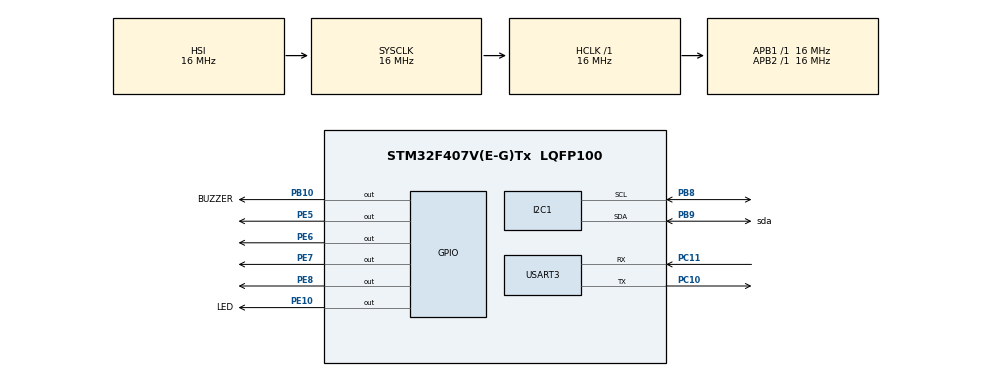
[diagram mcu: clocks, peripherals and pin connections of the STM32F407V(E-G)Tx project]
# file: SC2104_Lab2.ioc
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Mcu.Family=STM32F4
Mcu.Name=STM32F407V(E-G)Tx
Mcu.Package=LQFP100
NVIC.PriorityGroup=NVIC_PRIORITYGROUP_4
PB10.GPIO_Label=BUZZER
PB10.Signal=GPIO_Output
PB8.Mode=I2C
PB8.Signal=I2C1_SCL
PB9.GPIO_Label=sda
PB9.Mode=I2C
PB9.Signal=I2C1_SDA
PC10.Mode=Asynchronous
PC10.Signal=USART3_TX
PC11.Mode=Asynchronous
PC11.Signal=USART3_RX
PE10.GPIO_Label=LED
PE10.Signal=GPIO_Output
PE5.Signal=GPIO_Output
PE6.Signal=GPIO_Output
PE7.Signal=GPIO_Output
PE8.Signal=GPIO_Output
ProjectManager.HeapSize=0x200
ProjectManager.StackSize=0x400
ProjectManager.TargetToolchain=STM32CubeIDE
RCC.AHBFreq_Value=16000000
RCC.APB1Freq_Value=16000000
RCC.APB2Freq_Value=16000000
RCC.CortexFreq_Value=16000000
RCC.HSE_VALUE=25000000
RCC.HSI_VALUE=16000000
RCC.LSE_VALUE=32768
RCC.SYSCLKFreq_VALUE=16000000
RCC.VCOOutputFreq_Value=192000000
USART3.VirtualMode=VM_ASYNC
board=custom

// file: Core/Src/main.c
/* USER CODE BEGIN Header */
/**
 ******************************************************************************
 * @file           : main.c
 * @brief          : Main program body
 ******************************************************************************
 * @attention
 *
 * Copyright (c) 2022 STMicroelectronics.
 * All rights reserved.
 *
 * This software is licensed under terms that can be found in the LICENSE file
 * in the root directory of this software component.
 * If no LICENSE file comes with this software, it is provided AS-IS.
 *
 ******************************************************************************
 */
/* USER CODE END Header */
#include "main.h"

/* USER CODE BEGIN Includes */
#include "ICM20948.h"
#include "math.h"
#include "oled.h"
/* USER CODE END Includes */

I2C_HandleTypeDef hi2c1;

UART_HandleTypeDef huart3;

void SystemClock_Config(void);
static void MX_GPIO_Init(void);
static void MX_USART3_UART_Init(void);
static void MX_I2C1_Init(void);

int main(void)
{
	/* USER CODE BEGIN 1 */

	ICM20948 imu;
	/* USER CODE END 1 */

	/* MCU Configuration--------------------------------------------------------*/

	/* Reset of all peripherals, Initializes the Flash interface and the Systick. */
	HAL_Init();

	/* Configure the system clock */
	SystemClock_Config();

	/* Initialize all configured peripherals */
	MX_GPIO_Init();
	MX_USART3_UART_Init();
	MX_I2C1_Init();
	/* USER CODE BEGIN 2 */
	OLED_Init();
	OLED_ShowString(0, 5, "Oh wow SC2104 sure is fun :3");
	OLED_Refresh_Gram();

	HAL_Delay(500);
	OLED_Clear();

	IMU_Initialise(&imu, &hi2c1, &huart3);
	/* USER CODE END 2 */

	/* Infinite loop */
	/* USER CODE BEGIN WHILE */
	float pitch_accel, roll_accel, pitch_gyro, roll_gyro, millisNow, millisOld, pitch_CF, roll_CF, dt;
	pitch_gyro = roll_gyro = pitch_CF = roll_CF = 0;
	millisNow = millisOld = 0;
	float a = 0.95;
	int ledCount = 0;
	int oledCount = 0;

	while (1)
	{
		uint8_t sbuf[55] = "\n\r   ";

		// LED and buzzer thingamajic here, toggle every 100 iterations
		if (ledCount++ % 100 == 0)
		{
			ledCount = 1;
			HAL_GPIO_TogglePin(GPIOE, GPIO_PIN_10);
			// HAL_GPIO_TogglePin(GPIOB, GPIO_PIN_10);
		}

		// Pitch and roll from accelerometer
		IMU_AccelRead(&imu);
		IMU_GyroRead(&imu);
		pitch_accel = atan2(imu.acc[1], imu.acc[2]);
		roll_accel = atan2(imu.acc[0], imu.acc[2]);

		pitch_accel = pitch_accel / 3.14159265 * 180;
		roll_accel = roll_accel / 3.14159265 * 180;

		// Pitch and roll from gyroscope
		millisNow = HAL_GetTick();
		dt = millisNow - millisOld;
		millisOld = millisNow;
		pitch_gyro = pitch_gyro + imu.gyro[0] * dt * 0.001;
		roll_gyro = roll_gyro + imu.gyro[1] * dt * 0.001;

		// Complementary filter for pitch and roll
		pitch_CF = (1 - a) * pitch_accel + a * (pitch_CF + imu.gyro[0] * dt * 0.001);
		roll_CF = (1 - a) * roll_accel + a * (roll_CF + imu.gyro[1] * dt * 0.001);

		// Send data via UART
		sprintf(&sbuf[2], "%5.2f, %5.2f, %5.2f, %5.2f, %5.2f, %5.2f", pitch_accel, roll_accel, pitch_gyro, roll_gyro, pitch_CF, roll_CF);
		HAL_UART_Transmit(&huart3, sbuf, sizeof(sbuf), HAL_MAX_DELAY);

		if (oledCount++ % 25 == 0)
		{
			uint8_t oled_buf[20] = ":(";
			oledCount = 1;
			sprintf(oled_buf, "Pitch: %5.2f", pitch_CF);
			OLED_ShowString(0, 5, oled_buf);
			sprintf(oled_buf, "Roll : %5.2f", roll_CF);
			OLED_ShowString(0, 16, oled_buf);
			OLED_Refresh_Gram();
		}

		/* USER CODE END WHILE */

	}
}

void SystemClock_Config(void)
{
	RCC_OscInitTypeDef RCC_OscInitStruct = {0};
	RCC_ClkInitTypeDef RCC_ClkInitStruct = {0};

	/** Configure the main internal regulator output voltage
	 */
	__HAL_RCC_PWR_CLK_ENABLE();
	__HAL_PWR_VOLTAGESCALING_CONFIG(PWR_REGULATOR_VOLTAGE_SCALE1);

	/** Initializes the RCC Oscillators according to the specified parameters
	 * in the RCC_OscInitTypeDef structure.
	 */
	RCC_OscInitStruct.OscillatorType = RCC_OSCILLATORTYPE_HSI;
	RCC_OscInitStruct.HSIState = RCC_HSI_ON;
	RCC_OscInitStruct.HSICalibrationValue = RCC_HSICALIBRATION_DEFAULT;
	RCC_OscInitStruct.PLL.PLLState = RCC_PLL_NONE;
	if (HAL_RCC_OscConfig(&RCC_OscInitStruct) != HAL_OK)
	{
		Error_Handler();
	}

	/** Initializes the CPU, AHB and APB buses clocks
	 */
	RCC_ClkInitStruct.ClockType = RCC_CLOCKTYPE_HCLK | RCC_CLOCKTYPE_SYSCLK | RCC_CLOCKTYPE_PCLK1 | RCC_CLOCKTYPE_PCLK2;
	RCC_ClkInitStruct.SYSCLKSource = RCC_SYSCLKSOURCE_HSI;
	RCC_ClkInitStruct.AHBCLKDivider = RCC_SYSCLK_DIV1;
	RCC_ClkInitStruct.APB1CLKDivider = RCC_HCLK_DIV1;
	RCC_ClkInitStruct.APB2CLKDivider = RCC_HCLK_DIV1;

	if (HAL_RCC_ClockConfig(&RCC_ClkInitStruct, FLASH_LATENCY_0) != HAL_OK)
	{
		Error_Handler();
	}
}

static void MX_I2C1_Init(void)
{

	hi2c1.Instance = I2C1;
	hi2c1.Init.ClockSpeed = 100000;
	hi2c1.Init.DutyCycle = I2C_DUTYCYCLE_2;
	hi2c1.Init.OwnAddress1 = 0;
	hi2c1.Init.AddressingMode = I2C_ADDRESSINGMODE_7BIT;
	hi2c1.Init.DualAddressMode = I2C_DUALADDRESS_DISABLE;
	hi2c1.Init.OwnAddress2 = 0;
	hi2c1.Init.GeneralCallMode = I2C_GENERALCALL_DISABLE;
	hi2c1.Init.NoStretchMode = I2C_NOSTRETCH_DISABLE;
	if (HAL_I2C_Init(&hi2c1) != HAL_OK)
	{
		Error_Handler();
	}
}

static void MX_USART3_UART_Init(void)
{

	huart3.Instance = USART3;
	huart3.Init.BaudRate = 115200;
	huart3.Init.WordLength = UART_WORDLENGTH_8B;
	huart3.Init.StopBits = UART_STOPBITS_1;
	huart3.Init.Parity = UART_PARITY_NONE;
	huart3.Init.Mode = UART_MODE_TX_RX;
	huart3.Init.HwFlowCtl = UART_HWCONTROL_NONE;
	huart3.Init.OverSampling = UART_OVERSAMPLING_16;
	if (HAL_UART_Init(&huart3) != HAL_OK)
	{
		Error_Handler();
	}
}

static void MX_GPIO_Init(void)
{
	GPIO_InitTypeDef GPIO_InitStruct = {0};

	/* GPIO Ports Clock Enable */
	__HAL_RCC_GPIOE_CLK_ENABLE();
	__HAL_RCC_GPIOB_CLK_ENABLE();
	__HAL_RCC_GPIOC_CLK_ENABLE();

	/*Configure GPIO pin Output Level */
	HAL_GPIO_WritePin(GPIOE, GPIO_PIN_5 | GPIO_PIN_6 | GPIO_PIN_7 | GPIO_PIN_8 | LED_Pin, GPIO_PIN_RESET);

	/*Configure GPIO pin Output Level */
	HAL_GPIO_WritePin(BUZZER_GPIO_Port, BUZZER_Pin, GPIO_PIN_RESET);

	/*Configure GPIO pins : PE5 PE6 PE7 PE8
							 LED_Pin */
	GPIO_InitStruct.Pin = GPIO_PIN_5 | GPIO_PIN_6 | GPIO_PIN_7 | GPIO_PIN_8 | LED_Pin;
	GPIO_InitStruct.Mode = GPIO_MODE_OUTPUT_PP;
	GPIO_InitStruct.Pull = GPIO_NOPULL;
	GPIO_InitStruct.Speed = GPIO_SPEED_FREQ_LOW;
	HAL_GPIO_Init(GPIOE, &GPIO_InitStruct);

	/*Configure GPIO pin : BUZZER_Pin */
	GPIO_InitStruct.Pin = BUZZER_Pin;
	GPIO_InitStruct.Mode = GPIO_MODE_OUTPUT_PP;
	GPIO_InitStruct.Pull = GPIO_NOPULL;
	GPIO_InitStruct.Speed = GPIO_SPEED_FREQ_LOW;
	HAL_GPIO_Init(BUZZER_GPIO_Port, &GPIO_InitStruct);
}

void Error_Handler(void)
{
	__disable_irq();
	while (1)
	{
	}
}
